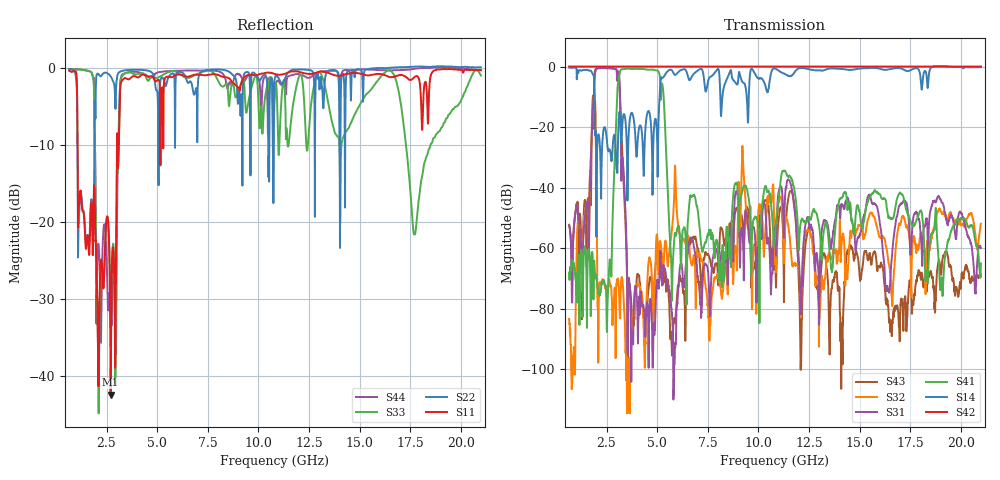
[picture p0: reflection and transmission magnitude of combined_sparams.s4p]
# Hz S  dB  R 50
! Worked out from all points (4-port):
!   2035 points, 650 MHz to 20.99 GHz, reference 50 ohm
!   strongest paths, dB at 650 MHz, 5.73 GHz, 10.82 GHz, 15.91 GHz, 20.99 GHz:
!     S42: 0.0, 0.0, 0.0, 0.0, 0.0
!     S14: -0.3, -1.3, -0.6, -0.6, -0.2
!     S41: -68.1, -77.4, -55.5, -41.9, -65.1
!     S31: -52.5, -81.5, -53.5, -47.8, -60.0
!     S32: -83.4, -53.9, -63.6, -54.4, -51.9
!     S43: -52.3, -95.5, -63.0, -66.0, -69.4
!   lowest |S11| = -42.4 dB at 2.7 GHz (marker M1), VSWR 1.02, Z = 49.3 + j0.336 ohm
!   |S11| at or under -10 dB: 1.07 GHz to 3.015 GHz (1.945 GHz wide, 95.3 % of centre); 3.029 GHz to 3.105 GHz (75.88 MHz wide, 2.47 % of centre); 5.156354 GHz to 5.166206 GHz (9.852 MHz wide, 0.191 % of centre)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
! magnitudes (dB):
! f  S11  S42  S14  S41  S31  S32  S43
! 650 MHz  -0.3  0.0  -0.3  -68.1  -52.5  -83.4  -52.3
! 1.19 GHz  -16.1  0.0  -1.2  -66.2  -54.4  -53.6  -48.8
! 1.87 GHz  -16.0  0.0  -3.0  -67.4  -10.0  -10.1  -20.6
! 2.7 GHz  -42.4  0.0  -28.9  -65.5  -0.6  -72.4  -0.5
! 3.77 GHz  -1.1  0.0  -15.4  -0.8  -88.9  -85.7  -82.6
! 5.74 GHz  -1.1  0.0  -1.4  -73.2  -83.3  -53.2  -92.6
! 20.99 GHz  -0.2  0.0  -0.2  -65.1  -60.0  -51.9  -69.4
